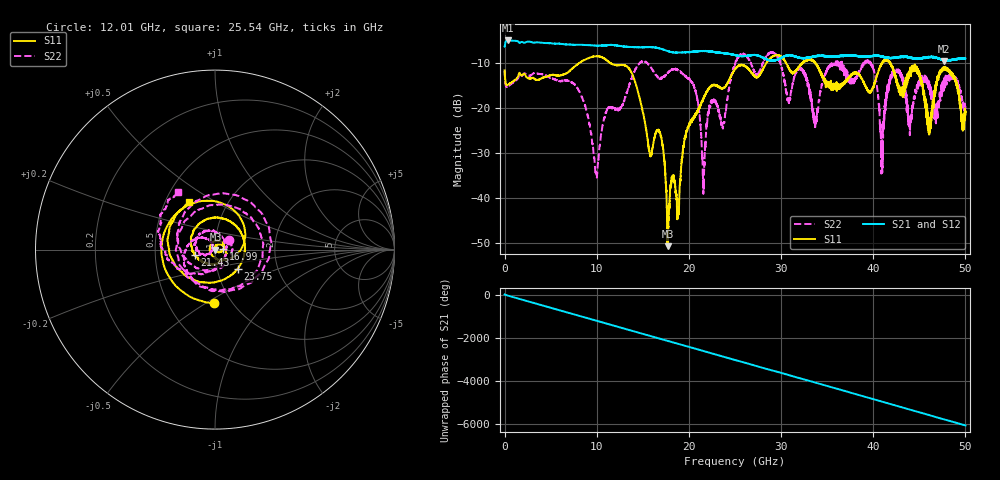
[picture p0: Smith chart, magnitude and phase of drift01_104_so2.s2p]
!Created with skrf (http://scikit-rf.org).
# Hz S RI R 50.0
!freq ReS11 ImS11 ReS21 ImS21 ReS12 ImS12 ReS22 ImS22
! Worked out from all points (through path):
!   10001 points, 300 kHz to 50 GHz, reference 50 ohm
!   highest |S21| = -5.05 dB at 345.3 MHz (marker M1); lowest = -9.6 dB at 47.67 GHz (marker M2)
!   group delay of S21, straight-line fit = 336 ps
!   lowest |S11| = -50.8 dB at 17.69 GHz (marker M3), VSWR 1.01, Z = 50.3 - j0.0883 ohm
!   |S11| at or under -10 dB: start of sweep to 8.154 GHz; 11.44 GHz to 28.42 GHz (16.98 GHz wide, 85.2 % of centre); 41.8 GHz to end of sweep (the widest 3 of 12)
!   |S22| runs from -39.1 to -7.6 dB; largest |S21 - S12| = 0.016
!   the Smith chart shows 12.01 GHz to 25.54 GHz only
!   S11 on the Smith chart (normalised r, x): 12.01 GHz: 0.83, -0.54; 16.99 GHz: 1.10, +0.00; 21.43 GHz: 0.79, -0.05; 23.75 GHz: 1.25, -0.28; 25.54 GHz: 0.66, +0.38
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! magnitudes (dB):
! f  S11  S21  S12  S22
! 300 kHz  -11.7  -6.4  -6.5  -11.8
! 345.3 MHz  -14.9  -5.1  -5.1  -15.3
! 8.335 GHz  -9.8  -6.0  -6.0  -17.4
! 9.935 GHz  -8.5  -6.2  -6.2  -34.3
! 12.01 GHz  -10.5  -6.1  -6.2  -20.4
! 16.67 GHz  -25.0  -6.7  -6.7  -13.3
! 16.99 GHz  -26.6  -6.9  -6.9  -13.5
! 17.69 GHz  -50.8  -7.4  -7.4  -12.3
! 20.5 GHz  -22.2  -7.5  -7.5  -15.0
! 21.43 GHz  -18.6  -7.4  -7.4  -30.1
! 22.47 GHz  -15.1  -7.5  -7.6  -19.0
! 23.75 GHz  -15.6  -7.8  -7.8  -23.7
! 25 GHz  -11.4  -8.3  -8.3  -10.2
! 25.54 GHz  -10.5  -8.5  -8.5  -8.4
! 33.34 GHz  -9.4  -8.7  -8.7  -19.7
! 39.49 GHz  -16.4  -8.6  -8.5  -9.9
! 40.95 GHz  -10.2  -8.7  -8.6  -27.7
! 41.67 GHz  -9.6  -8.9  -9.0  -15.0
! 44.77 GHz  -11.3  -9.1  -9.1  -14.8
! 46.1 GHz  -25.5  -8.8  -8.8  -15.2
! 47.67 GHz  -11.4  -9.6  -9.4  -14.4
! 50 GHz  -21.5  -9.1  -9.1  -20.1
